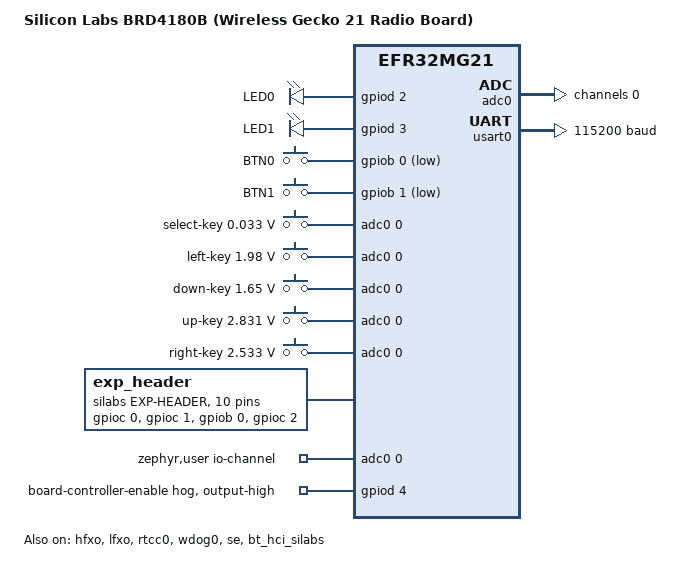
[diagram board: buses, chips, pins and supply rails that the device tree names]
/*
 * SPDX-License-Identifier: Apache-2.0
 *
 * Copyright (c) 2024 Capgemini
 *
 */

/dts-v1/;
#include <silabs/xg21/efr32mg21a020f1024im32.dtsi>
#include <dt-bindings/adc/silabs-adc.h>
#include <zephyr/dt-bindings/input/input-event-codes.h>
#include "slwrb4180b-pinctrl.dtsi"

/ {
	model = "Silicon Labs BRD4180B (Wireless Gecko 21 Radio Board)";
	compatible = "silabs,slwrb4180b", "silabs,efr32mg21";

	chosen {
		zephyr,bt-hci = &bt_hci_silabs;
		zephyr,code-partition = &slot0_partition;
		zephyr,console = &usart0;
		zephyr,flash = &flash0;
		zephyr,shell-uart = &usart0;
		zephyr,sram = &sram0;
	};

	/* These aliases are provided for compatibility with samples */
	aliases {
		led0 = &led0;
		led1 = &led1;
		sw0 = &button0;
		sw1 = &button1;
		watchdog0 = &wdog0;
		adc0 = &adc0;
	};

	leds {
		compatible = "gpio-leds";

		led0: led_0 {
			gpios = <&gpiod 2 0>;
			label = "LED0";
		};

		led1: led_1 {
			gpios = <&gpiod 3 0>;
			label = "LED1";
		};
	};

	buttons {
		compatible = "gpio-keys";

		button0: button_0 {
			gpios = <&gpiob 0 GPIO_ACTIVE_LOW>;
			label = "BTN0";
			zephyr,code = <INPUT_KEY_0>;
		};

		button1: button_1 {
			gpios = <&gpiob 1 GPIO_ACTIVE_LOW>;
			label = "BTN1";
			zephyr,code = <INPUT_KEY_1>;
		};
	};

	joystick {
		compatible = "adc-keys";
		io-channels = <&adc0 0>;
		keyup-threshold-mv = <3300>;

		select-key {
			press-thresholds-mv = <33>;
			zephyr,code = <INPUT_KEY_ENTER>;
		};

		left-key {
			press-thresholds-mv = <1980>;
			zephyr,code = <INPUT_KEY_LEFT>;
		};

		down-key {
			press-thresholds-mv = <1650>;
			zephyr,code = <INPUT_KEY_DOWN>;
		};

		up-key {
			press-thresholds-mv = <2831>;
			zephyr,code = <INPUT_KEY_UP>;
		};

		right-key {
			press-thresholds-mv = <2533>;
			zephyr,code = <INPUT_KEY_RIGHT>;
		};
	};

	exp_header: exp-header {
		compatible = "silabs,exp-header";
		#gpio-cells = <2>;
		gpio-map = <4 0 &gpioc 0 0>,
			   <6 0 &gpioc 1 0>,
			   <7 0 &gpiob 0 0>,
			   <8 0 &gpioc 2 0>,
			   <9 0 &gpiob 1 0>,
			   <10 0 &gpioc 3 0>,
			   <11 0 &gpiod 2 0>,
			   <12 0 &gpioa 5 0>,
			   <13 0 &gpiod 3 0>,
			   <14 0 &gpioa 6 0>;
		gpio-map-mask = <0xffffffff 0x0>;
		gpio-map-pass-thru = <0x0 GPIO_DT_FLAGS_MASK>;
	};

	zephyr,user {
		io-channels = <&adc0 0>;
	};
};

&cpu0 {
	clock-frequency = <76800000>;
};

&hfxo {
	ctune = <129>;
	precision = <50>;
	status = "okay";
};

&lfxo {
	ctune = <79>;
	precision = <50>;
	status = "okay";
};

&hfrcodpll {
	clock-frequency = <DT_FREQ_K(76800)>;
	clocks = <&hfxo>;
	dpll-autorecover;
	dpll-edge = "fall";
	dpll-lock = "phase";
	dpll-m = <1919>;
	dpll-n = <3839>;
};

&em23grpaclk {
	clocks = <&lfxo>;
};

&em4grpaclk {
	clocks = <&lfxo>;
};

&rtccclk {
	clocks = <&lfxo>;
};

&wdog0clk {
	clocks = <&lfxo>;
};

&wdog1clk {
	clocks = <&lfxo>;
};

&adc0 {
	pinctrl-0 = <&iadc0_default>;
	pinctrl-names = "default";
	#address-cells = <1>;
	#size-cells = <0>;
	status = "okay";

	channel@0 {
		reg = <0>;
		zephyr,acquisition-time = <ADC_ACQ_TIME_DEFAULT>;
		zephyr,gain = "ADC_GAIN_1";
		zephyr,input-positive = <IADC_INPUT_PA0>;
		zephyr,reference = "ADC_REF_VDD_1";
		zephyr,resolution = <12>;
		zephyr,vref-mv = <3300>;
	};
};

&usart0 {
	current-speed = <115200>;
	pinctrl-0 = <&usart0_default>;
	pinctrl-names = "default";
	status = "okay";
};

&rtcc0 {
	prescaler = <1>;
	status = "okay";
};

&gpio {
	status = "okay";
};

&gpioa {
	status = "okay";
};

&gpiob {
	status = "okay";
};

&gpioc {
	status = "okay";
};

&gpiod {
	status = "okay";

	board-controller-enable {
		gpio-hog;
		gpios = <4 GPIO_ACTIVE_HIGH>;
		output-high;
	};
};

&wdog0 {
	status = "okay";
};

&dma0 {
	status = "okay";
};

&se {
	status = "okay";
};

&bt_hci_silabs {
	status = "okay";
};

&flash0 {
	partitions {
		compatible = "fixed-partitions";
		#address-cells = <1>;
		#size-cells = <1>;

		boot_partition: partition@0 {
			reg = <0x00000000 DT_SIZE_K(48)>;
			label = "mcuboot";
		};

		slot0_partition: partition@c000 {
			reg = <0x0000C000 DT_SIZE_K(472)>;
			label = "image-0";
		};

		slot1_partition: partition@82000 {
			reg = <0x00082000 DT_SIZE_K(472)>;
			label = "image-1";
		};

		storage_partition: partition@F8000 {
			reg = <0x000F8000 DT_SIZE_K(32)>;
			label = "storage";
		};
	};
};
